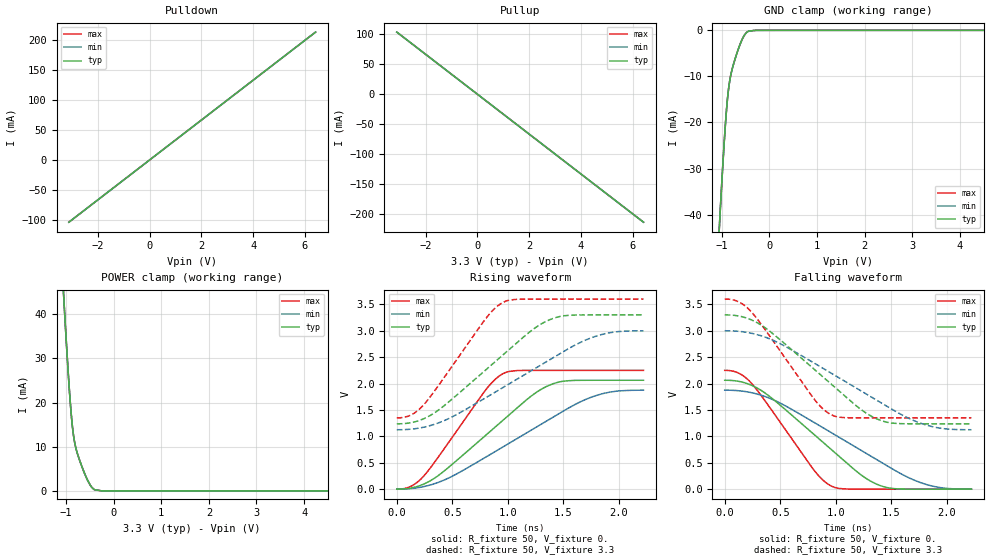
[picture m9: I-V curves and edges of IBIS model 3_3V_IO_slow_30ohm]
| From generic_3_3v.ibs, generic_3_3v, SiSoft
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[Model] 3_3V_IO_slow_30ohm
|SiSoft Include 3_3v.inc
Model_type I/O
|SiSoft Include 3_3v.inc
|C_comp_off 3.002p 2.502p 3.502p
|C_comp_on 3.002p 2.502p 3.502p
C_comp 3.002p 2.502p 3.502p
|SiSoft Rth_i 358.696K 375.001K 346.155K
|SiSoft Rth_r 30.002 30.002 30.002
|SiSoft Rth_f 29.998 29.999 29.998
Vinh = 2
Vinl = 0.8
Cref = 0
Vref = 1.65
Rref = 50
Vmeas = 1.65
|SiSoft spice_param TT Voh 3.3
|SiSoft spice_param SS Voh 3
|SiSoft spice_param FF Voh 3.6
|SiSoft spice_param ALL Vol 0
|SiSoft spice_param ALL R_SERIES 30
|SiSoft spice_param ALL RTERM_IN 1MEG
|SiSoft spice_param TT C_COMP 3pF
|SiSoft spice_param SS C_COMP 3.5pF
|SiSoft spice_param FF C_COMP 2.5pF
|SiSoft spice all testbed.mod tech_io_33
|SiSoft stimulus_rise_time 1.5n 2.0n 1.0n
[Temperature_Range] 25 100 0
[Voltage Range] 3.3 3. 3.6
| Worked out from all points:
|   slope of the pulldown table from 0 to 0.495 V, typ, clamps not added: 30 ohm
|   slope of the pullup table from 0 to 0.495 V, typ, clamps not added: 30 ohm
|   GND clamp passes 1 mA (typ) near -0.52 V on its own axis
|   POWER clamp passes 1 mA (typ) near -0.47 V on its own axis
|   rising waveform, R_fixture 50, V_fixture 0.: 20-80 % time 678ps typ, 904ps min, 454ps max; typ from 0 V to 2.06 V
|   rising waveform, R_fixture 50, V_fixture 3.3: 20-80 % time 678ps typ, 904ps min, 454ps max; typ from 1.24 V to 3.3 V
|   falling waveform, R_fixture 50, V_fixture 0.: 20-80 % time 678ps typ, 904ps min, 453ps max; typ from 2.06 V to 0 V
|   falling waveform, R_fixture 50, V_fixture 3.3: 20-80 % time 678ps typ, 904ps min, 453ps max; typ from 3.3 V to 1.24 V
[Pulldown]
-3.118V   -103.9mA   -103.9mA   -103.9mA
4.425V    147.5mA    147.5mA    147.5mA
5.87V     195.7mA    195.7mA    195.7mA
6.41V     213.6mA    213.6mA    213.6mA
[Pullup]
-3.11V    103.6mA    103.6mA    103.7mA
-2.782V   92.73mA    92.73mA    92.73mA
5.926V    -197.5mA   -197.5mA   -197.5mA
6.418V    -213.9mA   -213.9mA   -213.9mA
[GND Clamp]
-3.118V   -501.5mA   -501.5mA   -501.5mA
-1.056V   -43.27mA   -43.27mA   -43.27mA
-1.048V   -41.85mA   -41.85mA   -41.85mA
-983.3mV  -29.74mA   -29.74mA   -29.74mA
-925.4mV  -20.34mA   -20.34mA   -20.34mA
-882mV    -14.85mA   -14.85mA   -14.85mA
-838.5mV  -11.16mA   -11.16mA   -11.16mA
-766.2mV  -7.733mA   -7.733mA   -7.734mA
-635.9mV  -3.531mA   -3.53mA    -3.532mA
-527.4mV  -1.05mA    -1.047mA   -1.052mA
-440.6mV  -193.4uA   -192.9uA   -192.7uA
6.41V     0A         0A         0A
[Power Clamp]
-3.118V   497.6mA    497.6mA    497.6mA
-1.05V    44.29mA    44.29mA    44.29mA
-1.039V   42.11mA    42.11mA    42.12mA
-971.8mV  29.71mA    29.71mA    29.72mA
-926.9mV  22.34mA    22.33mA    22.35mA
-881.9mV  16.28mA    16.28mA    16.29mA
-837mV    12.1mA     12.1mA     12.1mA
-769.6mV  8.758mA    8.756mA    8.758mA
-612.3mV  3.997mA    3.996mA    3.999mA
-488.7mV  1.254mA    1.25mA     1.256mA
-398.8mV  272.2uA    271.7uA    272.2uA
6.418V    0A         0A         0A
[Ramp]
dV/dt_r 1.237/678.213p 1.125/904.031p 1.35/453.504p
dV/dt_f 1.237/678.149p 1.125/904.031p 1.35/453.332p
[Rising Waveform]
R_fixture = 50
V_fixture = 0.
0s        37.52uV    37.52uV    37.52uV
120ps     18.28mV    10.06mV    47.11mV
240ps     93.76mV    47.59mV    242.1mV
480ps     437.4mV    224.3mV    924.8mV
800ps     1.02V      606mV      1.878V
970ps     1.331V     818mV      2.201V
1.26ns    1.839V     1.18V      2.25V
1.44ns    2.018V     1.405V     2.25V
1.815ns   2.062V     1.787V     2.25V
2.22ns    2.062V     1.874V     2.25V
[Rising Waveform]
R_fixture = 50
V_fixture = 3.3
V_fixture_min = 3.
V_fixture_max = 3.6
0s        1.237V     1.125V     1.35V
120ps     1.256V     1.135V     1.397V
240ps     1.331V     1.173V     1.592V
480ps     1.675V     1.349V     2.275V
800ps     2.257V     1.731V     3.228V
970ps     2.569V     1.943V     3.551V
1.26ns    3.076V     2.305V     3.6V
1.44ns    3.255V     2.53V      3.6V
1.815ns   3.3V       2.912V     3.6V
2.22ns    3.3V       2.999V     3.6V
[Falling Waveform]
R_fixture = 50
V_fixture = 0.
0s        2.062V     1.875V     2.25V
120ps     2.044V     1.865V     2.203V
240ps     1.969V     1.827V     2.008V
480ps     1.625V     1.651V     1.325V
810ps     1.024V     1.257V     342.8mV
970ps     731.1mV    1.057V     48.5mV
1.245ns   242.9mV    713.3mV    119.3uV
1.425ns   49.84mV    488.3mV    38.35uV
1.815ns   73.44uV    87.99mV    37.52uV
2.22ns    37.53uV    481.2uV    37.52uV
[Falling Waveform]
R_fixture = 50
V_fixture = 3.3
V_fixture_min = 3.
V_fixture_max = 3.6
0s        3.3V       3V         3.6V
120ps     3.282V     2.99V      3.553V
240ps     3.206V     2.952V     3.358V
480ps     2.862V     2.776V     2.675V
810ps     2.262V     2.381V     1.693V
970ps     1.969V     2.182V     1.398V
1.245ns   1.48V      1.838V     1.35V
1.425ns   1.287V     1.613V     1.35V
1.815ns   1.238V     1.213V     1.35V
2.22ns    1.237V     1.125V     1.35V
